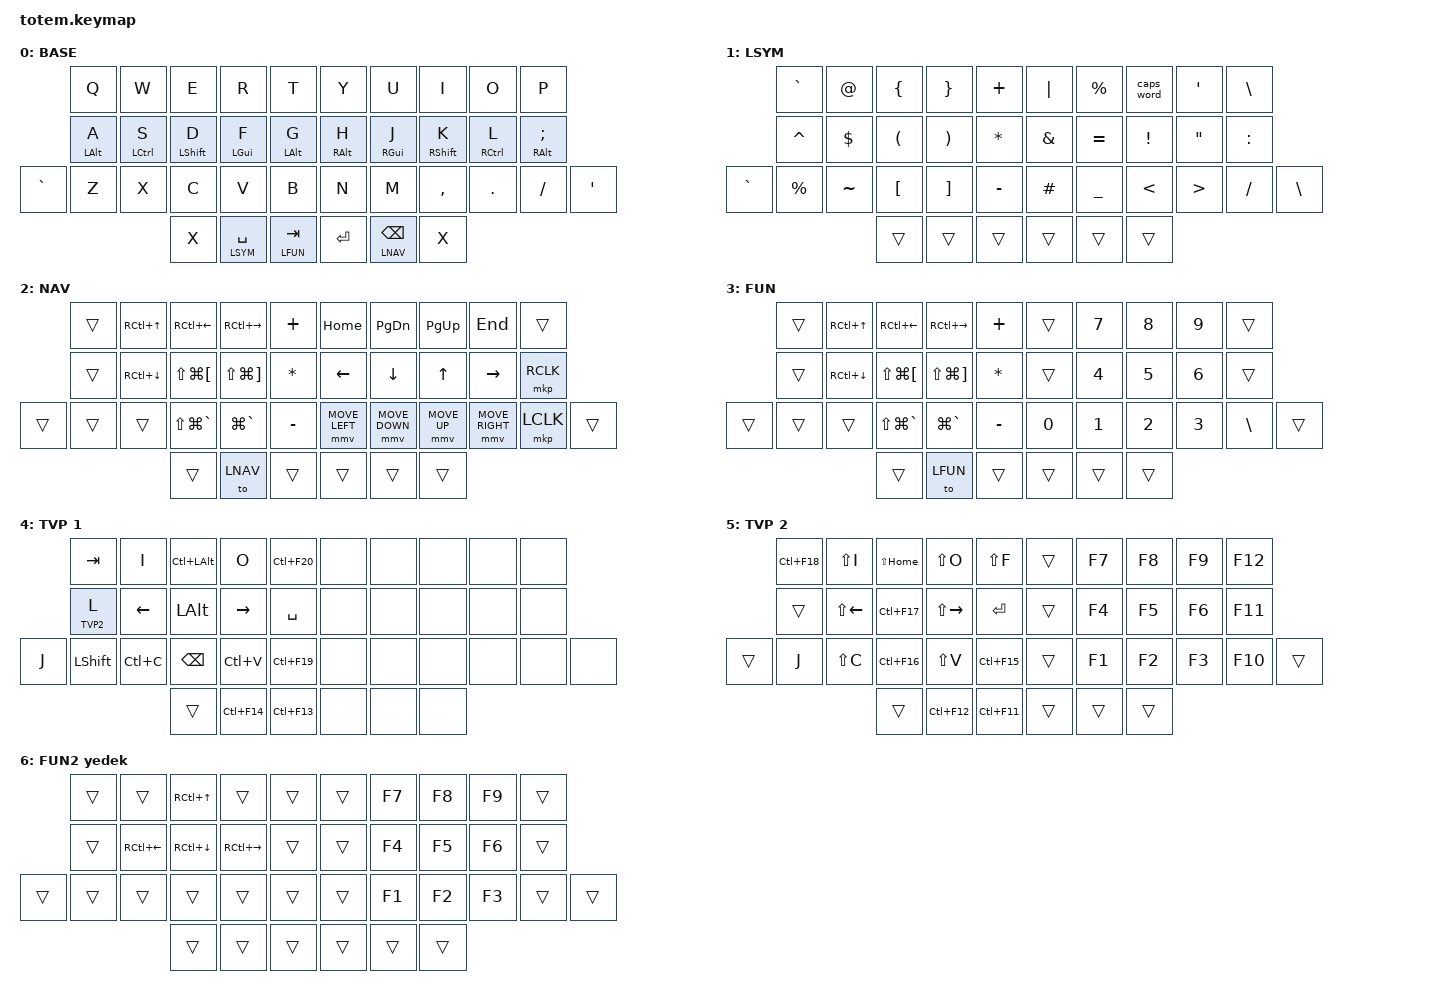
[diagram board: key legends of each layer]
//
//                                                        ▀▀▀▀▀     ▀▀▀▀▀          ▀▀█▀▀
//                                                        ▄▀▀▀▄  ▄  ▄▀▀▀▄  ▄  ▄▀▀▀▄  █  ▄▀▀▀▄
//                                                        █   █  █  █   █  █  █   █  █  █   █
//                                                         ▀▀▀   █   ▀▀▀   █   ▀▀▀   ▀   ▀▀▀
//                                                               █      ▄▄▄█▄▄▄    █   █  
//                                                               ▀      █  █  █     █▄█
//                                                             ▀▀▀▀▀    █  █  █      ▀
//                                                                      ▀  ▀  ▀
//
// ▄▄▄▄▄▄▄▄▄▄▄▄▄▄▄▄▄▄▄▄▄▄▄▄▄▄▄▄▄▄▄▄▄▄▄▄▄▄▄▄▄▄▄▄▄▄▄▄▄▄▄▄▄▄▄▄▄▄▄▄▄▄▄▄▄▄▄▄▄▄▄▄▄▄▄▄▄▄▄▄▄▄▄▄▄▄▄▄▄▄▄▄▄▄▄▄▄▄▄▄▄▄▄▄▄▄▄▄▄▄▄▄▄▄▄▄▄▄▄▄▄▄▄▄▄▄▄▄▄▄▄▄▄▄▄▄▄▄▄▄▄▄▄▄▄▄▄▄▄
       

#include <behaviors.dtsi>
#include <dt-bindings/zmk/keys.h>
#include <dt-bindings/zmk/bt.h>
#include <dt-bindings/zmk/outputs.h>
#include <dt-bindings/zmk/pointing.h>

#define BASE 0
#define LSYM  1
#define LNAV  2
#define LFUN  3
#define TVP1 4
#define TVP2 5

&mt {
  quick-tap-ms = <100>;
  global-quick-tap;
  flavor = "tap-preferred";
  tapping-term-ms = <170>;
};

/ {
     combos {
            compatible = "zmk,combos";
            combo_esc {
                timeout-ms = <50>;
                key-positions = <23 24>;
                bindings = <&kp ESC>;
            };
            combo_del {
                timeout-ms = <50>;
                key-positions = <27 28>;
                bindings = <&kp DEL>;
            };
            combo_tvp {
                timeout-ms = <100>;
                key-positions = <11 12 13>;
                bindings = <&tog TVP1>;
            };
            combo_scrolup {
                timeout-ms = <50>;
                key-positions = <16 17>;
                bindings = <&msc SCRL_UP>;
                layers = <LNAV>;
            };
            combo_scroldown {
                timeout-ms = <50>;
                key-positions = <27 28>;
                bindings = <&msc SCRL_DOWN>;
                layers = <LNAV>;
            };

    };

    macros {
        gif: gif {
            label = "giphy";
            compatible = "zmk,behavior-macro";
            #binding-cells = <0>;
            bindings
                = <&macro_press &kp LSHFT>
                , <&macro_tap &kp N2>
                , <&macro_release &kp LSHFT>
                , <&macro_tap &kp G &kp I &kp F>
                ;
        };
    };

    behaviors {
      hm: homerow_mods {
        compatible = "zmk,behavior-hold-tap";
        label = "HOMEROW_MODS";
        #binding-cells = <2>;
        tapping-term-ms = <220>;
        quick_tap_ms = <200>;
        flavor = "balanced";
        bindings = <&kp>, <&kp>;
      };

    // using &hlt instead of &lt. It enables quick tap
      hlt: homerow_layers {
        compatible = "zmk,behavior-hold-tap";
        label = "HOMEROW_LAYERS";
        #binding-cells = <2>;
        tapping-term-ms = <220>;
        quick_tap_ms = <200>;
        flavor = "balanced";
        bindings = <&mo>, <&kp>;
      };
    };

        keymap {
                compatible = "zmk,keymap";
// ▄▄▄▄▄▄▄▄▄▄▄▄▄▄▄▄▄▄▄▄▄▄▄▄▄▄▄▄▄▄▄▄▄▄▄▄▄▄▄▄▄▄▄▄▄▄▄▄▄▄▄▄▄▄▄▄▄▄▄▄▄▄▄▄▄▄▄▄▄▄▄▄▄▄▄▄▄▄▄▄▄▄▄▄▄▄▄▄▄▄▄▄▄▄▄▄▄▄▄▄▄▄▄▄▄▄▄▄▄▄▄▄▄▄▄▄▄▄▄▄▄▄▄▄▄▄▄▄▄▄▄▄▄▄▄▄▄▄▄▄▄▄▄▄▄▄▄▄▄

                base_layer {
// ┏━━━━━━━━━━━━━━━━━━━━━━━━━━━━━━━━━━━━━━━┓
label= "BASE"                              ;
// ┗━━━━━━━━━━━━━━━━━━━━━━━━━━━━━━━━━━━━━━━┛
//             ┏━━━━━━━━━━━┳━━━━━━━━━━━┳━━━━━━━━━━━┳━━━━━━━━━━━┳━━━━━━━━━━━┓   ┏━━━━━━━━━━━┳━━━━━━━━━━━┳━━━━━━━━━━━┳━━━━━━━━━━━┳━━━━━━━━━━━┓
//             ┃     Q     ┃     W     ┃     F     ┃     P     ┃     G     ┃   ┃     J     ┃     L     ┃     U     ┃     Y     ┃     ;     ┃
//             ┣━━━━━━━━━━━╋━━━━━━━━━━━╋━━━━━━━━━━━╋━━━━━━━━━━━╋━━━━━━━━━━━┫   ┣━━━━━━━━━━━╋━━━━━━━━━━━╋━━━━━━━━━━━╋━━━━━━━━━━━╋━━━━━━━━━━━┫
//             ┃     A     ┃     R     ┃     S     ┃     T     ┃     D     ┃   ┃     H     ┃     N     ┃     E     ┃     I     ┃     O     ┃
// ┏━━━━━━━━━━━╋━━━━━━━━━━━╋━━━━━━━━━━━╋━━━━━━━━━━━╋━━━━━━━━━━━╋━━━━━━━━━━━┫   ┣━━━━━━━━━━━╋━━━━━━━━━━━╋━━━━━━━━━━━╋━━━━━━━━━━━╋━━━━━━━━━━━╋━━━━━━━━━━━┓
// ┃     Q     ┃     Z     ┃     X     ┃     C     ┃     V     ┃     B     ┃   ┃     K     ┃     M     ┃     ,     ┃     .     ┃     /     ┃     \     ┃
// ┗━━━━━━━━━━━┻━━━━━━━━━━━┻━━━━━━━━━━━╋━━━━━━━━━━━╋━━━━━━━━━━━╋━━━━━━━━━━━┫   ┣━━━━━━━━━━━╋━━━━━━━━━━━╋━━━━━━━━━━━╋━━━━━━━━━━━┻━━━━━━━━━━━┻━━━━━━━━━━━┛
//                                     ┃    DEL    ┃    TAB    ┃    SPC    ┃   ┃   ENTER   ┃           ┃   BSPC    ┃
//                                     ┗━━━━━━━━━━━┻━━━━━━━━━━━┻━━━━━━━━━━━┛   ┗━━━━━━━━━━━┻━━━━━━━━━━━┻━━━━━━━━━━━┛
 bindings = <
// ╷           ╷           ╷           ╷           ╷           ╷           ╷   ╷           ╷           ╷           ╷           ╷           ╷           ╷

                &kp Q       &kp W         &kp E                &kp R                 &kp T              &kp Y         &kp U          &kp I        &kp O         &kp P
                &hm LALT A  &hm LCTRL S   &hm LSHIFT D         &hm LGUI F            &hm LALT G         &hm RALT H    &hm RGUI J     &hm RSHIFT K &hm RCTRL L   &hm RALT SEMI
    &kp GRAVE   &kp Z       &kp X         &kp C                &kp V                 &kp B              &kp N         &kp M          &kp COMMA    &kp DOT       &kp FSLH         &kp SQT
                                          &kp X                &hlt LSYM SPACE       &hlt LFUN TAB      &kp ENTER     &hlt LNAV BSPC &kp X
                        >;
                };

// ▄▄▄▄▄▄▄▄▄▄▄▄▄▄▄▄▄▄▄▄▄▄▄▄▄▄▄▄▄▄▄▄▄▄▄▄▄▄▄▄▄▄▄▄▄▄▄▄▄▄▄▄▄▄▄▄▄▄▄▄▄▄▄▄▄▄▄▄▄▄▄▄▄▄▄▄▄▄▄▄▄▄▄▄▄▄▄▄▄▄▄▄▄▄▄▄▄▄▄▄▄▄▄▄▄▄▄▄▄▄▄▄▄▄▄▄▄▄▄▄▄▄▄▄▄▄▄▄▄▄▄▄▄▄▄▄▄▄▄▄▄▄▄▄▄▄▄▄▄

                sim_layer {
// ┏━━━━━━━━━━━━━━━━━━━━━━━━━━━━━━━━━━━━━━━┓
label= "LSYM"                               ;
// ┗━━━━━━━━━━━━━━━━━━━━━━━━━━━━━━━━━━━━━━━┛
//             ┏━━━━━━━━━━━┳━━━━━━━━━━━┳━━━━━━━━━━━┳━━━━━━━━━━━┳━━━━━━━━━━━┓   ┏━━━━━━━━━━━┳━━━━━━━━━━━┳━━━━━━━━━━━┳━━━━━━━━━━━┳━━━━━━━━━━━┓
//             ┃     !     ┃     @     ┃     #     ┃     $     ┃     %     ┃   ┃     ˆ     ┃     &     ┃     Ü     ┃     '     ┃     "     ┃
//             ┣━━━━━━━━━━━╋━━━━━━━━━━━╋━━━━━━━━━━━╋━━━━━━━━━━━╋━━━━━━━━━━━┫   ┣━━━━━━━━━━━╋━━━━━━━━━━━╋━━━━━━━━━━━╋━━━━━━━━━━━╋━━━━━━━━━━━┫
//             ┃     Ä     ┃           ┃    SZ     ┃           ┃           ┃   ┃   MUTE    ┃   YEN     ┃   EURO    ┃  POUND    ┃     Ö     ┃
// ┏━━━━━━━━━━━╋━━━━━━━━━━━╋━━━━━━━━━━━╋━━━━━━━━━━━╋━━━━━━━━━━━╋━━━━━━━━━━━┫   ┣━━━━━━━━━━━╋━━━━━━━━━━━╋━━━━━━━━━━━╋━━━━━━━━━━━╋━━━━━━━━━━━╋━━━━━━━━━━━┓
// ┃           ┃  EMAIL1   ┃  EMAIL2   ┃           ┃           ┃           ┃   ┃   VOL-    ┃   VOL+    ┃   LAST    ┃   NEXT    ┃     \     ┃           ┃
// ┗━━━━━━━━━━━┻━━━━━━━━━━━┻━━━━━━━━━━━╋━━━━━━━━━━━╋━━━━━━━━━━━╋━━━━━━━━━━━┫   ┣━━━━━━━━━━━╋━━━━━━━━━━━╋━━━━━━━━━━━╋━━━━━━━━━━━┻━━━━━━━━━━━┻━━━━━━━━━━━┛
//                                     ┃           ┃    GIF    ┃    FUN    ┃   ┃           ┃           ┃           ┃
//                                     ┗━━━━━━━━━━━┻━━━━━━━━━━━┻━━━━━━━━━━━┛   ┗━━━━━━━━━━━┻━━━━━━━━━━━┻━━━━━━━━━━━┛
 bindings = <
// ╷           ╷           ╷           ╷           ╷           ╷           ╷   ╷           ╷           ╷           ╷           ╷           ╷           ╷

                &kp GRAVE   &kp AT        &kp LEFT_BRACE       &kp RIGHT_BRACE       &kp PLUS                 &kp PIPE      &kp PERCENT    &caps_word    &kp SQT       &kp BSLH
                &kp CARET   &kp DOLLAR    &kp LEFT_PARENTHESIS &kp RIGHT_PARENTHESIS &kp ASTERISK             &kp AMPERSAND &kp EQUAL      &kp EXCL      &kp DQT       &kp COLON
    &kp GRAVE   &kp PERCENT &kp TILDE     &kp LEFT_BRACKET     &kp RIGHT_BRACKET     &kp MINUS                &kp HASH      &kp UNDERSCORE &kp LESS_THAN &kp GREATER_THAN &kp FSLH    &kp BSLH
                                        &trans      &trans      &trans         &trans      &trans    &trans      
                        >;
                };

// ▄▄▄▄▄▄▄▄▄▄▄▄▄▄▄▄▄▄▄▄▄▄▄▄▄▄▄▄▄▄▄▄▄▄▄▄▄▄▄▄▄▄▄▄▄▄▄▄▄▄▄▄▄▄▄▄▄▄▄▄▄▄▄▄▄▄▄▄▄▄▄▄▄▄▄▄▄▄▄▄▄▄▄▄▄▄▄▄▄▄▄▄▄▄▄▄▄▄▄▄▄▄▄▄▄▄▄▄▄▄▄▄▄▄▄▄▄▄▄▄▄▄▄▄▄▄▄▄▄▄▄▄▄▄▄▄▄▄▄▄▄▄▄▄▄▄▄▄▄

                nav_layer {
// ┏━━━━━━━━━━━━━━━━━━━━━━━━━━━━━━━━━━━━━━━┓
label= "NAV"                              ;
// ┗━━━━━━━━━━━━━━━━━━━━━━━━━━━━━━━━━━━━━━━┛
//             ┏━━━━━━━━━━━┳━━━━━━━━━━━┳━━━━━━━━━━━┳━━━━━━━━━━━┳━━━━━━━━━━━┓   ┏━━━━━━━━━━━┳━━━━━━━━━━━┳━━━━━━━━━━━┳━━━━━━━━━━━┳━━━━━━━━━━━┓
//             ┃           ┃           ┃     UP    ┃           ┃     {     ┃   ┃     }     ┃     7     ┃     8     ┃     9     ┃     +     ┃
//             ┣━━━━━━━━━━━╋━━━━━━━━━━━╋━━━━━━━━━━━╋━━━━━━━━━━━╋━━━━━━━━━━━┫   ┣━━━━━━━━━━━╋━━━━━━━━━━━╋━━━━━━━━━━━╋━━━━━━━━━━━╋━━━━━━━━━━━┫
//             ┃   SHIFT   ┃   LEFT    ┃    DOWN   ┃   RIGHT   ┃     [     ┃   ┃     ]     ┃     4     ┃     5     ┃     6     ┃     -     ┃
// ┏━━━━━━━━━━━╋━━━━━━━━━━━╋━━━━━━━━━━━╋━━━━━━━━━━━╋━━━━━━━━━━━╋━━━━━━━━━━━┫   ┣━━━━━━━━━━━╋━━━━━━━━━━━╋━━━━━━━━━━━╋━━━━━━━━━━━╋━━━━━━━━━━━╋━━━━━━━━━━━┓
// ┃           ┃           ┃   P UP    ┃  C LOCK   ┃  P DOWN   ┃     (     ┃   ┃     )     ┃     1     ┃     2     ┃     3     ┃     *     ┃           ┃
// ┗━━━━━━━━━━━┻━━━━━━━━━━━┻━━━━━━━━━━━╋━━━━━━━━━━━╋━━━━━━━━━━━╋━━━━━━━━━━━┫   ┣━━━━━━━━━━━╋━━━━━━━━━━━╋━━━━━━━━━━━╋━━━━━━━━━━━┻━━━━━━━━━━━┻━━━━━━━━━━━┛
//                                     ┃           ┃    TAB    ┃    SPC    ┃   ┃    DEL    ┃     0     ┃           ┃
//                                     ┗━━━━━━━━━━━┻━━━━━━━━━━━┻━━━━━━━━━━━┛   ┗━━━━━━━━━━━┻━━━━━━━━━━━┻━━━━━━━━━━━┛
 bindings = <
// ╷           ╷           ╷           ╷           ╷           ╷           ╷   ╷           ╷           ╷           ╷           ╷           ╷           ╷

                &trans      &kp RC(UP)    &kp RC(LEFT)         &kp RC(RIGHT)         &kp PLUS                 &kp HOME        &kp PG_DN    &kp PG_UP      &kp END          &trans
                &trans      &kp RC(DOWN)  &kp LS(LG(LBKT))     &kp LS(LG(RBKT))      &kp ASTERISK             &kp LEFT        &kp DOWN     &kp UP         &kp RIGHT        &mkp RCLK
    &trans      &trans      &trans        &kp LS(LG(GRAVE))    &kp LG(GRAVE)         &kp MINUS                &mmv MOVE_LEFT  &mmv MOVE_DOWN &mmv MOVE_UP &mmv MOVE_RIGHT  &mkp LCLK    &trans
                                        &trans     &to LNAV    &trans                                     &trans           &trans         &trans
                        >;
                };

// ▄▄▄▄▄▄▄▄▄▄▄▄▄▄▄▄▄▄▄▄▄▄▄▄▄▄▄▄▄▄▄▄▄▄▄▄▄▄▄▄▄▄▄▄▄▄▄▄▄▄▄▄▄▄▄▄▄▄▄▄▄▄▄▄▄▄▄▄▄▄▄▄▄▄▄▄▄▄▄▄▄▄▄▄▄▄▄▄▄▄▄▄▄▄▄▄▄▄▄▄▄▄▄▄▄▄▄▄▄▄▄▄▄▄▄▄▄▄▄▄▄▄▄▄▄▄▄▄▄▄▄▄▄▄▄▄▄▄▄▄▄▄▄▄▄▄▄▄▄




                function_layer {
// ┏━━━━━━━━━━━━━━━━━━━━━━━━━━━━━━━━━━━━━━━┓
label= "FUN"                               ;
// ┗━━━━━━━━━━━━━━━━━━━━━━━━━━━━━━━━━━━━━━━┛
//             ┏━━━━━━━━━━━┳━━━━━━━━━━━┳━━━━━━━━━━━┳━━━━━━━━━━━┳━━━━━━━━━━━┓   ┏━━━━━━━━━━━┳━━━━━━━━━━━┳━━━━━━━━━━━┳━━━━━━━━━━━┳━━━━━━━━━━━┓
//             ┃   RESET   ┃ BT CLEAR  ┃  OUT TOG  ┃           ┃           ┃   ┃           ┃    F7     ┃    F8     ┃    F9     ┃    F12    ┃
//             ┣━━━━━━━━━━━╋━━━━━━━━━━━╋━━━━━━━━━━━╋━━━━━━━━━━━╋━━━━━━━━━━━┫   ┣━━━━━━━━━━━╋━━━━━━━━━━━╋━━━━━━━━━━━╋━━━━━━━━━━━╋━━━━━━━━━━━┫
//             ┃ BOOTLOAD  ┃ BT NEXT   ┃           ┃           ┃           ┃   ┃           ┃    F4     ┃    F5     ┃    F6     ┃    F11    ┃
// ┏━━━━━━━━━━━╋━━━━━━━━━━━╋━━━━━━━━━━━╋━━━━━━━━━━━╋━━━━━━━━━━━╋━━━━━━━━━━━┫   ┣━━━━━━━━━━━╋━━━━━━━━━━━╋━━━━━━━━━━━╋━━━━━━━━━━━╋━━━━━━━━━━━╋━━━━━━━━━━━┓
// ┃           ┃           ┃ BT PREV   ┃           ┃           ┃           ┃   ┃           ┃    F1     ┃    F2     ┃    F3     ┃    F10    ┃           ┃
// ┗━━━━━━━━━━━┻━━━━━━━━━━━┻━━━━━━━━━━━╋━━━━━━━━━━━╋━━━━━━━━━━━╋━━━━━━━━━━━┫   ┣━━━━━━━━━━━╋━━━━━━━━━━━╋━━━━━━━━━━━╋━━━━━━━━━━━┻━━━━━━━━━━━┻━━━━━━━━━━━┛
//                                     ┃           ┃           ┃           ┃   ┃           ┃           ┃           ┃
//                                     ┗━━━━━━━━━━━┻━━━━━━━━━━━┻━━━━━━━━━━━┛   ┗━━━━━━━━━━━┻━━━━━━━━━━━┻━━━━━━━━━━━┛
//             &sys_reset  &bt BT_CLR &out OUT_TOG &trans      &trans          &trans      &kp F7      &kp F8      &kp F9      &kp F12
//             &bootloader &bt BT_NXT  &trans      &trans      &trans          &trans      &kp F4      &kp F5      &kp F6      &kp F11  
// &trans      &trans      &bt BT_PRV  &trans      &trans      &trans          &trans      &kp F1      &kp F2      &kp F3      &kp F10     &trans         
//                                     &trans      &trans      &trans          &trans      &trans      &trans      
 bindings = <
// ╷           ╷           ╷           ╷           ╷           ╷           ╷   ╷           ╷           ╷           ╷           ╷           ╷           ╷

                &trans      &kp RC(UP)    &kp RC(LEFT)         &kp RC(RIGHT)         &kp PLUS                 &trans        &kp N7      &kp N8       &kp N9      &trans
                &trans      &kp RC(DOWN)  &kp LS(LG(LBKT))     &kp LS(LG(RBKT))      &kp ASTERISK             &trans        &kp N4      &kp N5       &kp N6      &trans
    &trans      &trans      &trans        &kp LS(LG(GRAVE))    &kp LG(GRAVE)         &kp MINUS                &kp N0        &kp N1      &kp N2       &kp N3      &kp BSLH    &trans
                                        &trans     &to LFUN    &trans                                     &trans           &trans         &trans
                        >;
                };

// ▄▄▄▄▄▄▄▄▄▄▄▄▄▄▄▄▄▄▄▄▄▄▄▄▄▄▄▄▄▄▄▄▄▄▄▄▄▄▄▄▄▄▄▄▄▄▄▄▄▄▄▄▄▄▄▄▄▄▄▄▄▄▄▄▄▄▄▄▄▄▄▄▄▄▄▄▄▄▄▄▄▄▄▄▄▄▄▄▄▄▄▄▄▄▄▄▄▄▄▄▄▄▄▄▄▄▄▄▄▄▄▄▄▄▄▄▄▄▄▄▄▄▄▄▄▄▄▄▄▄▄▄▄▄▄▄▄▄▄▄▄▄▄▄▄▄▄▄▄


                tvp1_layer {
// ┏━━━━━━━━━━━━━━━━━━━━━━━━━━━━━━━━━━━━━━━┓
label= "TVP 1"                             ;
// ┗━━━━━━━━━━━━━━━━━━━━━━━━━━━━━━━━━━━━━━━┛
//             ┏━━━━━━━━━━━┳━━━━━━━━━━━┳━━━━━━━━━━━┳━━━━━━━━━━━┳━━━━━━━━━━━┓   ┏━━━━━━━━━━━┳━━━━━━━━━━━┳━━━━━━━━━━━┳━━━━━━━━━━━┳━━━━━━━━━━━┓
//             ┃ NEXT FILE ┃ MARK IN   ┃ ROTATE    ┃ MARK OUT  ┃ SHOW SNAP ┃   ┃           ┃           ┃           ┃           ┃           ┃
//             ┣━━━━━━━━━━━╋━━━━━━━━━━━╋━━━━━━━━━━━╋━━━━━━━━━━━╋━━━━━━━━━━━┫   ┣━━━━━━━━━━━╋━━━━━━━━━━━╋━━━━━━━━━━━╋━━━━━━━━━━━╋━━━━━━━━━━━┫
//             ┃ TVP II    ┃ LEFT      ┃ PAN       ┃ RIGHT     ┃ PLAY/FLIP ┃   ┃           ┃           ┃           ┃           ┃           ┃
// ┏━━━━━━━━━━━╋━━━━━━━━━━━╋━━━━━━━━━━━╋━━━━━━━━━━━╋━━━━━━━━━━━╋━━━━━━━━━━━┫   ┣━━━━━━━━━━━╋━━━━━━━━━━━╋━━━━━━━━━━━╋━━━━━━━━━━━╋━━━━━━━━━━━╋━━━━━━━━━━━┓
// ┃ FULLSCR   ┃ SHIFT     ┃ COPY      ┃ DELETE    ┃ PASTE     ┃ IMG MARK  ┃   ┃           ┃           ┃           ┃           ┃           ┃           ┃
// ┗━━━━━━━━━━━┻━━━━━━━━━━━┻━━━━━━━━━━━╋━━━━━━━━━━━╋━━━━━━━━━━━╋━━━━━━━━━━━┫   ┣━━━━━━━━━━━╋━━━━━━━━━━━╋━━━━━━━━━━━╋━━━━━━━━━━━┻━━━━━━━━━━━┻━━━━━━━━━━━┛
//                                     ┃           ┃ UNDO/SAVE ┃  SEL/MOV  ┃   ┃           ┃           ┃           ┃
//                                     ┗━━━━━━━━━━━┻━━━━━━━━━━━┻━━━━━━━━━━━┛   ┗━━━━━━━━━━━┻━━━━━━━━━━━┻━━━━━━━━━━━┛
 bindings = <
// ╷           ╷           ╷           ╷           ╷           ╷           ╷   ╷           ╷           ╷           ╷           ╷           ╷           ╷

                &kp TAB     &kp I       &kp LC(LALT) &kp O      &kp LC(F20)     &none       &none       &none       &none       &none
                &lt TVP2 L  &kp LEFT    &kp LALT    &kp RIGHT   &kp SPACE       &none       &none       &none       &none       &none
    &kp J       &kp LSHFT   &kp LC(C)   &kp BSPC    &kp LC(V)   &kp LC(F19)     &none       &none       &none       &none       &none       &none        
                                        &trans      &kp LC(F14) &kp LC(F13)     &none       &none       &none    
                        >;
                };

// ▄▄▄▄▄▄▄▄▄▄▄▄▄▄▄▄▄▄▄▄▄▄▄▄▄▄▄▄▄▄▄▄▄▄▄▄▄▄▄▄▄▄▄▄▄▄▄▄▄▄▄▄▄▄▄▄▄▄▄▄▄▄▄▄▄▄▄▄▄▄▄▄▄▄▄▄▄▄▄▄▄▄▄▄▄▄▄▄▄▄▄▄▄▄▄▄▄▄▄▄▄▄▄▄▄▄▄▄▄▄▄▄▄▄▄▄▄▄▄▄▄▄▄▄▄▄▄▄▄▄▄▄▄▄▄▄▄▄▄▄▄▄▄▄▄▄▄▄▄


                tvp2_layer {
// ┏━━━━━━━━━━━━━━━━━━━━━━━━━━━━━━━━━━━━━━━┓
label= "TVP 2"                             ;
// ┗━━━━━━━━━━━━━━━━━━━━━━━━━━━━━━━━━━━━━━━┛
//             ┏━━━━━━━━━━━┳━━━━━━━━━━━┳━━━━━━━━━━━┳━━━━━━━━━━━┳━━━━━━━━━━━┓   ┏━━━━━━━━━━━┳━━━━━━━━━━━┳━━━━━━━━━━━┳━━━━━━━━━━━┳━━━━━━━━━━━┓
//             ┃ SOLO      ┃ TOGGLE IN ┃ RESET ROT ┃ TOGGLE OUT┃ TAKE SNAP ┃   ┃           ┃           ┃           ┃           ┃           ┃
//             ┣━━━━━━━━━━━╋━━━━━━━━━━━╋━━━━━━━━━━━╋━━━━━━━━━━━╋━━━━━━━━━━━┫   ┣━━━━━━━━━━━╋━━━━━━━━━━━╋━━━━━━━━━━━╋━━━━━━━━━━━╋━━━━━━━━━━━┫
//             ┃ ---       ┃ LAST KEY  ┃ NEW KEY   ┃ NEXT KEY  ┃ ENTER     ┃   ┃           ┃           ┃           ┃           ┃           ┃
// ┏━━━━━━━━━━━╋━━━━━━━━━━━╋━━━━━━━━━━━╋━━━━━━━━━━━╋━━━━━━━━━━━╋━━━━━━━━━━━┫   ┣━━━━━━━━━━━╋━━━━━━━━━━━╋━━━━━━━━━━━╋━━━━━━━━━━━╋━━━━━━━━━━━╋━━━━━━━━━━━┓
// ┃           ┃ FULLSCR   ┃ CPY2BRUSH ┃ DEL HEAD  ┃ PSTinPLACE┃ BOOK MARK ┃   ┃           ┃           ┃           ┃           ┃           ┃           ┃
// ┗━━━━━━━━━━━┻━━━━━━━━━━━┻━━━━━━━━━━━╋━━━━━━━━━━━╋━━━━━━━━━━━╋━━━━━━━━━━━┫   ┣━━━━━━━━━━━╋━━━━━━━━━━━╋━━━━━━━━━━━╋━━━━━━━━━━━┻━━━━━━━━━━━┻━━━━━━━━━━━┛
//                                     ┃           ┃ REDO/SAV1 ┃TRANS/WARP ┃   ┃           ┃           ┃           ┃
//                                     ┗━━━━━━━━━━━┻━━━━━━━━━━━┻━━━━━━━━━━━┛   ┗━━━━━━━━━━━┻━━━━━━━━━━━┻━━━━━━━━━━━┛
 bindings = <
// ╷           ╷           ╷           ╷           ╷           ╷           ╷   ╷           ╷           ╷           ╷           ╷           ╷           ╷

                &kp LC(F18) &kp LS(I)  &kp LS(HOME) &kp LS(O)   &kp LS(F)       &trans      &kp F7      &kp F8      &kp F9      &kp F12
                &trans      &kp LS(LEFT) &kp LC(F17) &kp LS(RIGHT) &kp RET      &trans      &kp F4      &kp F5      &kp F6      &kp F11  
    &trans      &kp J       &kp LS(C)   &kp LC(F16) &kp LS(V)   &kp LC(F15)     &trans      &kp F1      &kp F2      &kp F3      &kp F10     &trans         
                                        &trans      &kp LC(F12) &kp LC(F11)     &trans      &trans      &trans      
                        >;
                };



// ▄▄▄▄▄▄▄▄▄▄▄▄▄▄▄▄▄▄▄▄▄▄▄▄▄▄▄▄▄▄▄▄▄▄▄▄▄▄▄▄▄▄▄▄▄▄▄▄▄▄▄▄▄▄▄▄▄▄▄▄▄▄▄▄▄▄▄▄▄▄▄▄▄▄▄▄▄▄▄▄▄▄▄▄▄▄▄▄▄▄▄▄▄▄▄▄▄▄▄▄▄▄▄▄▄▄▄▄▄▄▄▄▄▄▄▄▄▄▄▄▄▄▄▄▄▄▄▄▄▄▄▄▄▄▄▄▄▄▄▄▄▄▄▄▄▄▄▄▄




                function_layer2 {
// ┏━━━━━━━━━━━━━━━━━━━━━━━━━━━━━━━━━━━━━━━┓
label= "FUN2 yedek"                              ;
// ┗━━━━━━━━━━━━━━━━━━━━━━━━━━━━━━━━━━━━━━━┛
//             ┏━━━━━━━━━━━┳━━━━━━━━━━━┳━━━━━━━━━━━┳━━━━━━━━━━━┳━━━━━━━━━━━┓   ┏━━━━━━━━━━━┳━━━━━━━━━━━┳━━━━━━━━━━━┳━━━━━━━━━━━┳━━━━━━━━━━━┓
//             ┃   RESET   ┃ BT CLEAR  ┃  OUT TOG  ┃           ┃           ┃   ┃           ┃    F7     ┃    F8     ┃    F9     ┃    F12    ┃
//             ┣━━━━━━━━━━━╋━━━━━━━━━━━╋━━━━━━━━━━━╋━━━━━━━━━━━╋━━━━━━━━━━━┫   ┣━━━━━━━━━━━╋━━━━━━━━━━━╋━━━━━━━━━━━╋━━━━━━━━━━━╋━━━━━━━━━━━┫
//             ┃ BOOTLOAD  ┃ BT NEXT   ┃           ┃           ┃           ┃   ┃           ┃    F4     ┃    F5     ┃    F6     ┃    F11    ┃
// ┏━━━━━━━━━━━╋━━━━━━━━━━━╋━━━━━━━━━━━╋━━━━━━━━━━━╋━━━━━━━━━━━╋━━━━━━━━━━━┫   ┣━━━━━━━━━━━╋━━━━━━━━━━━╋━━━━━━━━━━━╋━━━━━━━━━━━╋━━━━━━━━━━━╋━━━━━━━━━━━┓
// ┃           ┃           ┃ BT PREV   ┃           ┃           ┃           ┃   ┃           ┃    F1     ┃    F2     ┃    F3     ┃    F10    ┃           ┃
// ┗━━━━━━━━━━━┻━━━━━━━━━━━┻━━━━━━━━━━━╋━━━━━━━━━━━╋━━━━━━━━━━━╋━━━━━━━━━━━┫   ┣━━━━━━━━━━━╋━━━━━━━━━━━╋━━━━━━━━━━━╋━━━━━━━━━━━┻━━━━━━━━━━━┻━━━━━━━━━━━┛
//                                     ┃           ┃           ┃           ┃   ┃           ┃           ┃           ┃
//                                     ┗━━━━━━━━━━━┻━━━━━━━━━━━┻━━━━━━━━━━━┛   ┗━━━━━━━━━━━┻━━━━━━━━━━━┻━━━━━━━━━━━┛
//             &sys_reset  &bt BT_CLR &out OUT_TOG &trans      &trans          &trans      &kp F7      &kp F8      &kp F9      &kp F12
//             &bootloader &bt BT_NXT  &trans      &trans      &trans          &trans      &kp F4      &kp F5      &kp F6      &kp F11  
// &trans      &trans      &bt BT_PRV  &trans      &trans      &trans          &trans      &kp F1      &kp F2      &kp F3      &kp F10     &trans         
//                                     &trans      &trans      &trans          &trans      &trans      &trans      
 bindings = <
// ╷           ╷           ╷           ╷           ╷           ╷           ╷   ╷           ╷           ╷           ╷           ╷           ╷           ╷

                &trans      &trans        &kp RC(UP)           &trans                &trans                         &trans        &kp F7         &kp F8       &kp F9        &trans
                &trans      &kp RC(LEFT)  &kp RC(DOWN)         &kp RC(RIGHT)         &trans                         &trans        &kp F4         &kp F5       &kp F6        &trans
    &trans      &trans      &trans        &trans               &trans                &trans                         &trans        &kp F1         &kp F2       &kp F3        &trans     &trans
                                                         &trans     &trans        &trans                                     &trans           &trans         &trans
                        >;
                };



        };
};
